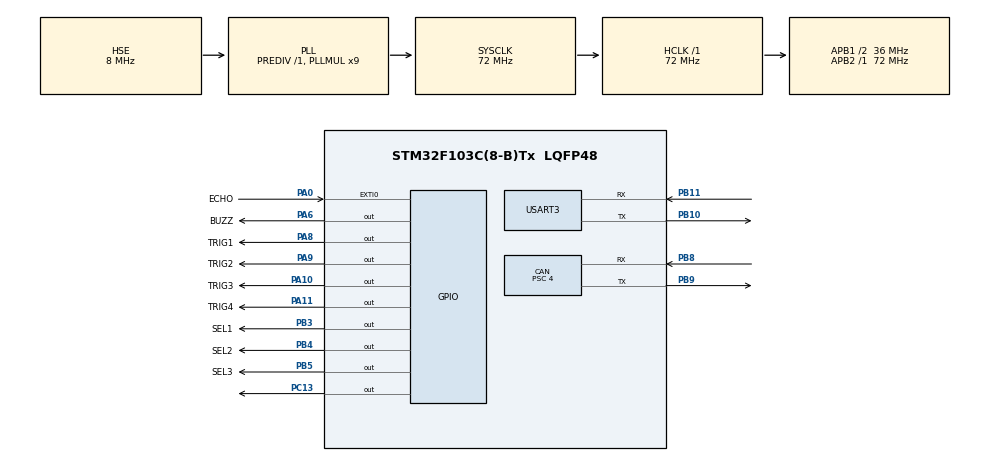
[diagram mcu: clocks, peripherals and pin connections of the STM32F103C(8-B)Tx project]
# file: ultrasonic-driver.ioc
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CAN.BS1=CAN_BS1_13TQ
CAN.BS2=CAN_BS2_4TQ
CAN.CalculateBaudRate=500000
CAN.CalculateTimeBit=2000
CAN.CalculateTimeQuantum=111.11111111111111
CAN.NART=ENABLE
CAN.Prescaler=4
CAN.SJW=CAN_SJW_1TQ
Mcu.Family=STM32F1
Mcu.Name=STM32F103C(8-B)Tx
Mcu.Package=LQFP48
NVIC.EXTI0_IRQn=true\:0\:0\:false\:false\:true\:true\:true\:true
NVIC.PriorityGroup=NVIC_PRIORITYGROUP_4
NVIC.TIM1_UP_IRQn=true\:0\:0\:false\:false\:true\:true\:true\:true
PA0-WKUP.GPIO_Label=ECHO
PA0-WKUP.GPIO_ModeDefaultEXTI=GPIO_MODE_IT_FALLING
PA0-WKUP.GPIO_PuPd=GPIO_PULLDOWN
PA0-WKUP.Signal=GPXTI0
PA10.GPIO_Label=TRIG3
PA10.GPIO_Speed=GPIO_SPEED_FREQ_HIGH
PA10.PinState=GPIO_PIN_SET
PA10.Signal=GPIO_Output
PA11.GPIO_Label=TRIG4
PA11.GPIO_Speed=GPIO_SPEED_FREQ_HIGH
PA11.PinState=GPIO_PIN_SET
PA11.Signal=GPIO_Output
PA13.Mode=Serial_Wire
PA13.Signal=SYS_JTMS-SWDIO
PA14.Mode=Serial_Wire
PA14.Signal=SYS_JTCK-SWCLK
PA6.GPIO_Label=BUZZ
PA6.Signal=GPIO_Output
PA8.GPIO_Label=TRIG1
PA8.GPIO_Speed=GPIO_SPEED_FREQ_HIGH
PA8.PinState=GPIO_PIN_SET
PA8.Signal=GPIO_Output
PA9.GPIO_Label=TRIG2
PA9.GPIO_Speed=GPIO_SPEED_FREQ_HIGH
PA9.PinState=GPIO_PIN_SET
PA9.Signal=GPIO_Output
PB10.Mode=Asynchronous
PB10.Signal=USART3_TX
PB11.Mode=Asynchronous
PB11.Signal=USART3_RX
PB3.GPIO_Label=SEL1
PB3.PinState=GPIO_PIN_SET
PB3.Signal=GPIO_Output
PB4.GPIO_Label=SEL2
PB4.PinState=GPIO_PIN_SET
PB4.Signal=GPIO_Output
PB5.GPIO_Label=SEL3
PB5.PinState=GPIO_PIN_SET
PB5.Signal=GPIO_Output
PB8.Mode=CAN_Activate
PB8.Signal=CAN_RX
PB9.Mode=CAN_Activate
PB9.Signal=CAN_TX
PC13-TAMPER-RTC.Signal=GPIO_Output
PD0-OSC_IN.Mode=HSE-External-Oscillator
PD0-OSC_IN.Signal=RCC_OSC_IN
PD1-OSC_OUT.Mode=HSE-External-Oscillator
PD1-OSC_OUT.Signal=RCC_OSC_OUT
ProjectManager.HeapSize=0x200
ProjectManager.StackSize=0x400
ProjectManager.TargetToolchain=STM32CubeIDE
RCC.AHBFreq_Value=72000000
RCC.APB1CLKDivider=RCC_HCLK_DIV2
RCC.APB1Freq_Value=36000000
RCC.APB1TimFreq_Value=72000000
RCC.APB2Freq_Value=72000000
RCC.APB2TimFreq_Value=72000000
RCC.HCLKFreq_Value=72000000
RCC.PLLMUL=RCC_PLL_MUL9
RCC.PLLSourceVirtual=RCC_PLLSOURCE_HSE
RCC.SYSCLKFreq_VALUE=72000000
RCC.SYSCLKSource=RCC_SYSCLKSOURCE_PLLCLK
RCC.USBFreq_Value=72000000
TIM1.Period=899
USART3.VirtualMode=VM_ASYNC
VP_TIM1_VS_ClockSourceINT.Mode=Internal
board=custom

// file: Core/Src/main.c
/* USER CODE BEGIN Header */
/**
  ******************************************************************************
  * @file           : main.c
  * @brief          : Main program body
  ******************************************************************************
  * @attention
  *
  * Copyright (c) 2026 STMicroelectronics.
  * All rights reserved.
  *
  * This software is licensed under terms that can be found in the LICENSE file
  * in the root directory of this software component.
  * If no LICENSE file comes with this software, it is provided AS-IS.
  *
  ******************************************************************************
  */
/* USER CODE END Header */
#include "main.h"

/* USER CODE BEGIN Includes */
#include <string.h>
#include <stdio.h>
/* USER CODE END Includes */

/* USER CODE BEGIN PD */
#define TRIG_PORT   GPIOA
#define TRIG_PIN1   GPIO_PIN_11
#define TRIG_PIN2   GPIO_PIN_10
#define TRIG_PIN3   GPIO_PIN_9
#define TRIG_PIN4   GPIO_PIN_8

#define SEL_PORT    GPIOB
#define SEL1_PIN    GPIO_PIN_5
#define SEL2_PIN    GPIO_PIN_4
#define SEL3_PIN    GPIO_PIN_3

#define ECHO_PORT   GPIOA
#define ECHO_PIN    GPIO_PIN_0

#define BUZZ_PORT   GPIOA
#define BUZZ_PIN    GPIO_PIN_6
/* USER CODE END PD */

/* USER CODE BEGIN PM */
#define BURST_CYCLE            8U          // 8 siklus per burst
#define BLANKING_US            1000UL      // dead time (us)
#define LISTEN_US              3000UL     // window tunggu echo (us) 30000
#define CYCLE_MS               0UL       // interval antar sequence (ms) 60
#define SPEED_OF_SOUND_CM_US   0.0343f
#define DIST_OFFSET            -5.0f

#define FILTER_ALPHA        0.3f    // EMA weight makin kecil makin lambat respon
#define MAX_JUMP_CM         15.0f
#define OUTLIER_ALPHA       0.1f
#define NO_ECHO_CONFIRM     3
/* USER CODE END PM */

CAN_HandleTypeDef hcan;

TIM_HandleTypeDef htim1;

UART_HandleTypeDef huart3;

/* USER CODE BEGIN PV */
typedef enum
{
    STATE_IDLE,
    STATE_BURST,
    STATE_BLANKING,
    STATE_LISTEN
} SystemState;

volatile SystemState state = STATE_IDLE;

volatile uint8_t  active_channel   = 0;
volatile uint8_t  halfCycleCount   = 0;
volatile uint8_t  burstActive      = 0;

volatile uint32_t burstStartTime    = 0;
volatile uint32_t blankingStartTime = 0;
volatile uint32_t listenStartTime   = 0;
volatile uint32_t lastSequenceTime  = 0;

volatile uint32_t echoTime            = 0;
volatile uint8_t  echo_detected       = 0;
volatile uint32_t echo_burstStartTime = 0;
volatile uint32_t spacious_counter    = 0;

static volatile uint32_t last_cyc_for_micros = 0;
static volatile uint32_t us_accum           = 0;
static volatile uint32_t rem_cyc            = 0;

float distance_set[4] = {
		999,
		999,
		999,
		999
};

static float   filtered_distance[4]   = {999, 999, 999, 999};
static uint8_t filter_initialized[4]  = {0, 0, 0, 0};
static uint8_t no_echo_count[4]       = {0, 0, 0, 0};

const float distance_close = 24.0;
const float distance_medium = 30.0;
const float distance_safe = 50.0;

uint32_t CAN_ID1 = 0x400;
uint32_t CAN_ID2 = 0x401;
CAN_TxHeaderTypeDef TxHeader1;
CAN_TxHeaderTypeDef TxHeader2;
uint8_t TxData1[8];
uint8_t TxData2[8];
uint32_t TxMailbox1;
uint32_t TxMailbox2;
static uint32_t lastCanTx = 0;

/* USER CODE END PV */

void SystemClock_Config(void);
static void MX_GPIO_Init(void);
static void MX_TIM1_Init(void);
static void MX_USART3_UART_Init(void);
static void MX_CAN_Init(void);
/* USER CODE BEGIN PFP */
static void DWT_Init(void);
static inline uint32_t micros(void);
static inline void delay_us(uint32_t us);

static void uart_print(const char *str);
static void float_to_str(float val, char *buf, uint8_t decimals);

void allTriggerIdle(void);
void selectChan(uint8_t channel);
void sendBurst(uint8_t channel);
void processEcho(void);
void buzzerNotify();
/* USER CODE END PFP */

/* USER CODE BEGIN 0 */
static void Construct_CANMsg(void)
{
	TxHeader1.IDE = CAN_ID_STD;
	TxHeader1.StdId = CAN_ID1;
	TxHeader1.RTR = CAN_RTR_DATA;
	TxHeader1.DLC = 8;

	memcpy(&TxData1[0], &filtered_distance[0], sizeof(float));
	memcpy(&TxData1[4], &filtered_distance[1], sizeof(float));

	TxHeader2.IDE = CAN_ID_STD;
	TxHeader2.StdId = CAN_ID2;
	TxHeader2.RTR = CAN_RTR_DATA;
	TxHeader2.DLC = 8;

	memcpy(&TxData2[0], &filtered_distance[2], sizeof(float));
	memcpy(&TxData2[4], &filtered_distance[3], sizeof(float));

}

static void DWT_Init(void)
{
    CoreDebug->DEMCR |= CoreDebug_DEMCR_TRCENA_Msk;
    DWT->CYCCNT = 0;
    DWT->CTRL  |= DWT_CTRL_CYCCNTENA_Msk;
}

static inline uint32_t micros(void)
{
	uint32_t cyc_per_us = SystemCoreClock / 1000000U;

	uint32_t cyc      = DWT->CYCCNT;
	uint32_t cyc_diff = cyc - last_cyc_for_micros;
	last_cyc_for_micros = cyc;

	uint32_t total = cyc_diff + rem_cyc;
	us_accum += total / cyc_per_us;
	rem_cyc   = total % cyc_per_us;

	return us_accum;
}

static inline void delay_us(uint32_t us)
{
    uint32_t start = DWT->CYCCNT;
    uint32_t ticks = us * (SystemCoreClock / 1000000U);
    while ((uint32_t)(DWT->CYCCNT - start) < ticks) { }
}

static void uart_print(const char *str)
{
    HAL_UART_Transmit(&huart3, (uint8_t *)str, (uint16_t)strlen(str), HAL_MAX_DELAY);
}

static void float_to_str(float val, char *buf, uint8_t decimals)
{
    int32_t intPart = (int32_t)val;
    float frac = val - (float)intPart;
    if (frac < 0) frac = -frac;

    int32_t mul = 1;
    for (uint8_t i = 0; i < decimals; i++) mul *= 10;

    int32_t fracPart = (int32_t)(frac * mul + 0.5f);

    char fmt[16];
    sprintf(fmt, "%%ld.%%0%dld", decimals);
    sprintf(buf, fmt, (long)intPart, (long)fracPart);
}

void allTriggerIdle(void)
{
    HAL_GPIO_WritePin(TRIG_PORT, TRIG_PIN1, GPIO_PIN_SET);
    HAL_GPIO_WritePin(TRIG_PORT, TRIG_PIN2, GPIO_PIN_SET);
    HAL_GPIO_WritePin(TRIG_PORT, TRIG_PIN3, GPIO_PIN_SET);
    HAL_GPIO_WritePin(TRIG_PORT, TRIG_PIN4, GPIO_PIN_SET);
}

void selectChan(uint8_t channel)
{
    switch (channel)
    {
        case 0:
            HAL_GPIO_WritePin(SEL_PORT, SEL1_PIN, GPIO_PIN_SET);
            HAL_GPIO_WritePin(SEL_PORT, SEL2_PIN, GPIO_PIN_SET);
            HAL_GPIO_WritePin(SEL_PORT, SEL3_PIN, GPIO_PIN_SET);

            break;

        case 1:
            HAL_GPIO_WritePin(SEL_PORT, SEL1_PIN, GPIO_PIN_SET);
            HAL_GPIO_WritePin(SEL_PORT, SEL2_PIN, GPIO_PIN_RESET);
            HAL_GPIO_WritePin(SEL_PORT, SEL3_PIN, GPIO_PIN_SET);

            break;

        case 2:
            HAL_GPIO_WritePin(SEL_PORT, SEL1_PIN, GPIO_PIN_SET);
            HAL_GPIO_WritePin(SEL_PORT, SEL2_PIN, GPIO_PIN_SET);
            HAL_GPIO_WritePin(SEL_PORT, SEL3_PIN, GPIO_PIN_RESET);
            break;

        case 3:
            HAL_GPIO_WritePin(SEL_PORT, SEL1_PIN, GPIO_PIN_SET);
            HAL_GPIO_WritePin(SEL_PORT, SEL2_PIN, GPIO_PIN_RESET);
            HAL_GPIO_WritePin(SEL_PORT, SEL3_PIN, GPIO_PIN_RESET);
            break;

        default:
            break;
    }
}

void sendBurst(uint8_t channel)
{
    allTriggerIdle();

    active_channel  = channel;
    halfCycleCount  = 0;
    burstActive     = 1;

    switch (active_channel)
    {
        case 0: HAL_GPIO_WritePin(TRIG_PORT, TRIG_PIN1, GPIO_PIN_SET); break;
        case 1: HAL_GPIO_WritePin(TRIG_PORT, TRIG_PIN2, GPIO_PIN_SET); break;
        case 2: HAL_GPIO_WritePin(TRIG_PORT, TRIG_PIN3, GPIO_PIN_SET); break;
        case 3: HAL_GPIO_WritePin(TRIG_PORT, TRIG_PIN4, GPIO_PIN_SET); break;
    }

    __HAL_TIM_SET_COUNTER(&htim1, 0);
    burstStartTime = micros();
    state = STATE_BURST;

    HAL_TIM_Base_Start_IT(&htim1);
}

void processEcho(void)
{
    char buf[96];
    char num[24];
    uint8_t ch = active_channel;

    if (echo_detected)
    {
        uint32_t tof_us = echoTime - echo_burstStartTime;
        float distance_cm = (tof_us * SPEED_OF_SOUND_CM_US) / 2.0f - DIST_OFFSET;

        no_echo_count[ch] = 0;

        if (!filter_initialized[ch])
        {
            filtered_distance[ch] = distance_cm;
            filter_initialized[ch] = 1;
        }
        else
        {
            float delta = distance_cm - filtered_distance[ch];
            if (delta < 0) delta = -delta;

            if (delta > MAX_JUMP_CM)
            {
                filtered_distance[ch] += (distance_cm - filtered_distance[ch]) * OUTLIER_ALPHA;
            }
            else
            {
                filtered_distance[ch] += (distance_cm - filtered_distance[ch]) * FILTER_ALPHA;
            }
        }

        distance_set[ch] = filtered_distance[ch];

        float_to_str(filtered_distance[ch], num, 2);
        sprintf(buf, "| CH%d %s cm", ch + 1, num);
        uart_print(buf);
    }
    else
    {
        no_echo_count[ch]++;

        if (no_echo_count[ch] >= NO_ECHO_CONFIRM)
        {
            distance_set[ch]        = 999;
            filtered_distance[ch]   = 999;
            filter_initialized[ch]  = 0;

            sprintf(buf, "| CH%d No Echo", ch + 1);
        }
        else
        {
            distance_set[ch] = filtered_distance[ch];

            sprintf(buf, "| CH%d No Echo (hold)", ch + 1);
        }

        uart_print(buf);
    }
}

void buzzerNotify(){
	float closest_point = 999;
	uint8_t closest_index = 99;
	for(uint8_t i = 0 ; i < 4 ; i++){
		if(distance_set[i] < closest_point){
			closest_point = distance_set[i];
			closest_index = i;
		}
	}

	if(closest_index != 99){
		if(closest_point < distance_close){
			static uint32_t last_toggle = 0;
			if (HAL_GetTick() - last_toggle >= 50){
				last_toggle = HAL_GetTick();
				HAL_GPIO_TogglePin(BUZZ_PORT, BUZZ_PIN);
			}
		}else if(closest_point > distance_close && closest_point < distance_medium){
			static uint32_t last_toggle = 0;
			if (HAL_GetTick() - last_toggle >= 150){
				last_toggle = HAL_GetTick();
				HAL_GPIO_TogglePin(BUZZ_PORT, BUZZ_PIN);
			}
		}else{
			HAL_GPIO_WritePin(BUZZ_PORT, BUZZ_PIN, GPIO_PIN_RESET);
		}
	}else{
		HAL_GPIO_WritePin(BUZZ_PORT, BUZZ_PIN, GPIO_PIN_RESET);
	}
}

void HAL_TIM_PeriodElapsedCallback(TIM_HandleTypeDef *htim)
{
    if (htim->Instance == TIM1)
    {
        switch (active_channel)
        {
            case 0: HAL_GPIO_TogglePin(TRIG_PORT, TRIG_PIN1); break;
            case 1: HAL_GPIO_TogglePin(TRIG_PORT, TRIG_PIN2); break;
            case 2: HAL_GPIO_TogglePin(TRIG_PORT, TRIG_PIN3); break;
            case 3: HAL_GPIO_TogglePin(TRIG_PORT, TRIG_PIN4); break;
        }

        halfCycleCount++;
        if (halfCycleCount >= BURST_CYCLE * 2)
        {
            allTriggerIdle();

            HAL_TIM_Base_Stop_IT(&htim1);
            burstActive = 0;

            state = STATE_BLANKING;
            blankingStartTime = micros();
        }
    }
}

void HAL_GPIO_EXTI_Callback(uint16_t GPIO_Pin)
{
    if (GPIO_Pin == ECHO_PIN)
    {
        if (state == STATE_LISTEN && !echo_detected)
        {
			echoTime = micros();
			echo_burstStartTime = burstStartTime;
			echo_detected = 1;
			spacious_counter++;
        }
    }
}
/* USER CODE END 0 */

int main(void)
{

  /* MCU Configuration--------------------------------------------------------*/

  /* Reset of all peripherals, Initializes the Flash interface and the Systick. */
  HAL_Init();

  /* Configure the system clock */
  SystemClock_Config();

  /* USER CODE BEGIN SysInit */
  DWT_Init();
  /* USER CODE END SysInit */

  /* Initialize all configured peripherals */
  MX_GPIO_Init();
  MX_TIM1_Init();
  MX_USART3_UART_Init();
  MX_CAN_Init();
  /* USER CODE BEGIN 2 */
  if (HAL_CAN_Start(&hcan) != HAL_OK)
  {
      Error_Handler();
  }

  allTriggerIdle();
  selectChan(0);

  HAL_TIM_Base_Stop_IT(&htim1);

  state = STATE_IDLE;
  lastSequenceTime = micros();

  uart_print("Ultrasonic system ready\r\n");
  /* USER CODE END 2 */

  /* Infinite loop */
  while (1)
  {

    /* USER CODE BEGIN 3 */
	  uint32_t now = micros();

	  if (state == STATE_IDLE)
	  {
		  if ((int32_t)(now - lastSequenceTime) >= (int32_t)(CYCLE_MS * 1000UL))
		  {
			  echo_detected = 0;
			  selectChan(active_channel);
			  sendBurst(active_channel);
		  }
	  }

	  else if (state == STATE_BLANKING)
	  {
		  if ((int32_t)(now - blankingStartTime) >= (int32_t)BLANKING_US)
		  {
			  echo_detected = 0;
			  listenStartTime = micros();
			  state = STATE_LISTEN;
		  }
	  }

	  else if (state == STATE_LISTEN)
	  {
		  if (echo_detected)
		  {
			  processEcho();

			  active_channel++;
			  if (active_channel >= 4)
			  {
				  active_channel = 0;
				  lastSequenceTime = micros();
				  uart_print("\r\n");
			  }
			  state = STATE_IDLE;
		  }

		  else if ((int32_t)(now - listenStartTime) >= (int32_t)LISTEN_US)
		  {
			  processEcho();

			  active_channel++;
			  if (active_channel >= 4)
			  {
				  active_channel = 0;
				  lastSequenceTime = micros();
				  uart_print("\r\n");
			  }
			  state = STATE_IDLE;
		  }
	  }

	  buzzerNotify();

	  //CanBus data send at 50Hz rate
	  if(HAL_GetTick() - lastCanTx >= 20){
		  lastCanTx = HAL_GetTick();

		  Construct_CANMsg();
		  HAL_StatusTypeDef CanBusStatus1 = HAL_CAN_AddTxMessage(&hcan, &TxHeader1, TxData1, &TxMailbox1);
		  HAL_StatusTypeDef CanBusStatus2 = HAL_CAN_AddTxMessage(&hcan, &TxHeader2, TxData2, &TxMailbox2);
		  if (CanBusStatus1 != HAL_OK || CanBusStatus2 != HAL_OK)
		  {
			 uint32_t err = HAL_CAN_GetError(&hcan);
		  }
	  }

  }
  /* USER CODE END 3 */
}

void SystemClock_Config(void)
{
  RCC_OscInitTypeDef RCC_OscInitStruct = {0};
  RCC_ClkInitTypeDef RCC_ClkInitStruct = {0};

  /** Initializes the RCC Oscillators according to the specified parameters
  * in the RCC_OscInitTypeDef structure.
  */
  RCC_OscInitStruct.OscillatorType = RCC_OSCILLATORTYPE_HSE;
  RCC_OscInitStruct.HSEState = RCC_HSE_ON;
  RCC_OscInitStruct.HSEPredivValue = RCC_HSE_PREDIV_DIV1;
  RCC_OscInitStruct.HSIState = RCC_HSI_ON;
  RCC_OscInitStruct.PLL.PLLState = RCC_PLL_ON;
  RCC_OscInitStruct.PLL.PLLSource = RCC_PLLSOURCE_HSE;
  RCC_OscInitStruct.PLL.PLLMUL = RCC_PLL_MUL9;
  if (HAL_RCC_OscConfig(&RCC_OscInitStruct) != HAL_OK)
  {
    Error_Handler();
  }

  /** Initializes the CPU, AHB and APB buses clocks
  */
  RCC_ClkInitStruct.ClockType = RCC_CLOCKTYPE_HCLK|RCC_CLOCKTYPE_SYSCLK
                              |RCC_CLOCKTYPE_PCLK1|RCC_CLOCKTYPE_PCLK2;
  RCC_ClkInitStruct.SYSCLKSource = RCC_SYSCLKSOURCE_PLLCLK;
  RCC_ClkInitStruct.AHBCLKDivider = RCC_SYSCLK_DIV1;
  RCC_ClkInitStruct.APB1CLKDivider = RCC_HCLK_DIV2;
  RCC_ClkInitStruct.APB2CLKDivider = RCC_HCLK_DIV1;

  if (HAL_RCC_ClockConfig(&RCC_ClkInitStruct, FLASH_LATENCY_2) != HAL_OK)
  {
    Error_Handler();
  }
}

static void MX_CAN_Init(void)
{

  hcan.Instance = CAN1;
  hcan.Init.Prescaler = 4;
  hcan.Init.Mode = CAN_MODE_LOOPBACK;
  hcan.Init.SyncJumpWidth = CAN_SJW_1TQ;
  hcan.Init.TimeSeg1 = CAN_BS1_13TQ;
  hcan.Init.TimeSeg2 = CAN_BS2_4TQ;
  hcan.Init.TimeTriggeredMode = DISABLE;
  hcan.Init.AutoBusOff = DISABLE;
  hcan.Init.AutoWakeUp = DISABLE;
  hcan.Init.AutoRetransmission = ENABLE;
  hcan.Init.ReceiveFifoLocked = DISABLE;
  hcan.Init.TransmitFifoPriority = DISABLE;
  if (HAL_CAN_Init(&hcan) != HAL_OK)
  {
    Error_Handler();
  }

}

static void MX_TIM1_Init(void)
{

  TIM_ClockConfigTypeDef sClockSourceConfig = {0};
  TIM_MasterConfigTypeDef sMasterConfig = {0};

  htim1.Instance = TIM1;
  htim1.Init.Prescaler = 0;
  htim1.Init.CounterMode = TIM_COUNTERMODE_UP;
  htim1.Init.Period = 899;
  htim1.Init.ClockDivision = TIM_CLOCKDIVISION_DIV1;
  htim1.Init.RepetitionCounter = 0;
  htim1.Init.AutoReloadPreload = TIM_AUTORELOAD_PRELOAD_DISABLE;
  if (HAL_TIM_Base_Init(&htim1) != HAL_OK)
  {
    Error_Handler();
  }
  sClockSourceConfig.ClockSource = TIM_CLOCKSOURCE_INTERNAL;
  if (HAL_TIM_ConfigClockSource(&htim1, &sClockSourceConfig) != HAL_OK)
  {
    Error_Handler();
  }
  sMasterConfig.MasterOutputTrigger = TIM_TRGO_RESET;
  sMasterConfig.MasterSlaveMode = TIM_MASTERSLAVEMODE_DISABLE;
  if (HAL_TIMEx_MasterConfigSynchronization(&htim1, &sMasterConfig) != HAL_OK)
  {
    Error_Handler();
  }

}

static void MX_USART3_UART_Init(void)
{

  huart3.Instance = USART3;
  huart3.Init.BaudRate = 115200;
  huart3.Init.WordLength = UART_WORDLENGTH_8B;
  huart3.Init.StopBits = UART_STOPBITS_1;
  huart3.Init.Parity = UART_PARITY_NONE;
  huart3.Init.Mode = UART_MODE_TX_RX;
  huart3.Init.HwFlowCtl = UART_HWCONTROL_NONE;
  huart3.Init.OverSampling = UART_OVERSAMPLING_16;
  if (HAL_UART_Init(&huart3) != HAL_OK)
  {
    Error_Handler();
  }

}

static void MX_GPIO_Init(void)
{
  GPIO_InitTypeDef GPIO_InitStruct = {0};

  /* GPIO Ports Clock Enable */
  __HAL_RCC_GPIOC_CLK_ENABLE();
  __HAL_RCC_GPIOD_CLK_ENABLE();
  __HAL_RCC_GPIOA_CLK_ENABLE();
  __HAL_RCC_GPIOB_CLK_ENABLE();

  /*Configure GPIO pin Output Level */
  HAL_GPIO_WritePin(GPIOC, GPIO_PIN_13, GPIO_PIN_RESET);

  /*Configure GPIO pin Output Level */
  HAL_GPIO_WritePin(BUZZ_GPIO_Port, BUZZ_Pin, GPIO_PIN_RESET);

  /*Configure GPIO pin Output Level */
  HAL_GPIO_WritePin(GPIOA, TRIG1_Pin|TRIG2_Pin|TRIG3_Pin|TRIG4_Pin, GPIO_PIN_SET);

  /*Configure GPIO pin Output Level */
  HAL_GPIO_WritePin(GPIOB, SEL1_Pin|SEL2_Pin|SEL3_Pin, GPIO_PIN_SET);

  /*Configure GPIO pin : PC13 */
  GPIO_InitStruct.Pin = GPIO_PIN_13;
  GPIO_InitStruct.Mode = GPIO_MODE_OUTPUT_PP;
  GPIO_InitStruct.Pull = GPIO_NOPULL;
  GPIO_InitStruct.Speed = GPIO_SPEED_FREQ_LOW;
  HAL_GPIO_Init(GPIOC, &GPIO_InitStruct);

  /*Configure GPIO pin : ECHO_Pin */
  GPIO_InitStruct.Pin = ECHO_Pin;
  GPIO_InitStruct.Mode = GPIO_MODE_IT_FALLING;
  GPIO_InitStruct.Pull = GPIO_PULLDOWN;
  HAL_GPIO_Init(ECHO_GPIO_Port, &GPIO_InitStruct);

  /*Configure GPIO pin : BUZZ_Pin */
  GPIO_InitStruct.Pin = BUZZ_Pin;
  GPIO_InitStruct.Mode = GPIO_MODE_OUTPUT_PP;
  GPIO_InitStruct.Pull = GPIO_NOPULL;
  GPIO_InitStruct.Speed = GPIO_SPEED_FREQ_LOW;
  HAL_GPIO_Init(BUZZ_GPIO_Port, &GPIO_InitStruct);

  /*Configure GPIO pins : TRIG1_Pin TRIG2_Pin TRIG3_Pin TRIG4_Pin */
  GPIO_InitStruct.Pin = TRIG1_Pin|TRIG2_Pin|TRIG3_Pin|TRIG4_Pin;
  GPIO_InitStruct.Mode = GPIO_MODE_OUTPUT_PP;
  GPIO_InitStruct.Pull = GPIO_NOPULL;
  GPIO_InitStruct.Speed = GPIO_SPEED_FREQ_HIGH;
  HAL_GPIO_Init(GPIOA, &GPIO_InitStruct);

  /*Configure GPIO pins : SEL1_Pin SEL2_Pin SEL3_Pin */
  GPIO_InitStruct.Pin = SEL1_Pin|SEL2_Pin|SEL3_Pin;
  GPIO_InitStruct.Mode = GPIO_MODE_OUTPUT_PP;
  GPIO_InitStruct.Pull = GPIO_NOPULL;
  GPIO_InitStruct.Speed = GPIO_SPEED_FREQ_LOW;
  HAL_GPIO_Init(GPIOB, &GPIO_InitStruct);

  /* EXTI interrupt init*/
  HAL_NVIC_SetPriority(EXTI0_IRQn, 0, 0);
  HAL_NVIC_EnableIRQ(EXTI0_IRQn);

}

void Error_Handler(void)
{
  __disable_irq();
  while (1)
  {
  }
}
